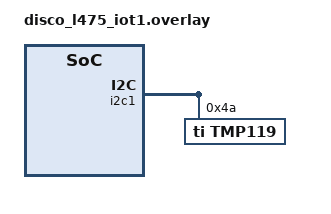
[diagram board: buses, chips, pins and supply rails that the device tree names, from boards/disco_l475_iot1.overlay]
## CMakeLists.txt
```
# SPDX-License-Identifier: Apache-2.0

cmake_minimum_required(VERSION 3.20.0)
find_package(Zephyr REQUIRED HINTS $ENV{ZEPHYR_BASE})
project(tmp119)

FILE(GLOB app_sources src/*c)
target_sources(app PRIVATE ${app_sources})
```

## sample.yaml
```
sample:
  name: TMP119 Sensor Sample

tests:
  sample.sensor.tmp119:
    harness: console
    tags: sensors
    depends_on: i2c
    filter: dt_compat_enabled("ti,tmp119")
    harness_config:
      type: one_line
      regex:
        - "Temperature: (.*) °C"
```

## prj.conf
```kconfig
CONFIG_LOG=y
CONFIG_STDOUT_CONSOLE=y
CONFIG_I2C=y
CONFIG_ASSERT=y
CONFIG_SENSOR=y
CONFIG_SENSOR_INIT_PRIORITY=91
CONFIG_TMP119=y
CONFIG_SHELL=y
CONFIG_I2C_SHELL=y
CONFIG_SHELL_BACKEND_SERIAL=y
CONFIG_UART_CONSOLE=y
CONFIG_SERIAL=y
```

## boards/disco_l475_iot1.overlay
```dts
&i2c1 {
    status = "okay";
    tmp119@4a {
        compatible = "ti,tmp119";
        reg = <0x4a>;
        label = "TMP119";
        odr = <0x200>;  // TMP119_DT_ODR_1000_MS
        status = "okay";
    };
};
```

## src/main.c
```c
#include <zephyr/kernel.h>
#include <zephyr/device.h>
#include <zephyr/drivers/sensor.h>
#include <zephyr/drivers/sensor/tmp119.h>
#include <zephyr/dt-bindings/sensor/tmp119.h>
#include <zephyr/logging/log.h>

LOG_MODULE_REGISTER(tmp119_sample, LOG_LEVEL_INF);

#define TMP119_NODE DT_COMPAT_GET_ANY_STATUS_OKAY(ti_tmp119)
// #define TMP119_NODE DT_NODELABEL(tmp119)

// const struct device *dev = DEVICE_DT_GET_ANY(ti_tmp119);
const struct device *dev = DEVICE_DT_GET(TMP119_NODE);
// const struct device *dev = DEVICE_DT_GET_ANY(ti_tmp119);

// const struct device *const dev = DEVICE_DT_GET_ANY(ti_tmp119);

int main() {
    // int ret;    /* Store return value */
    LOG_INF("TMP119 Sensor's Temperature Reading Sample");

    if(!device_is_ready(dev)) {
        LOG_ERR("TMP119 device not found or not ready.");
        return -ENODEV;
    }

    // ret = tmp119_init(dev); 
    // if (ret < 0) {
    //     LOG_ERR("TMP119 is not initalized !");
    //     return -EINVAL;
    // }

    LOG_INF("TMP119 sensor sample started");

    // === Set SENSOR_ATTR_SAMPLING_FREQUENCY ===
	struct sensor_value freq_val;
	// Example: 1 Hz → 1 sample per second → 1 Hz
	freq_val.val1 = 1;
	freq_val.val2 = 0;

	if (sensor_attr_set(dev, SENSOR_CHAN_AMBIENT_TEMP,
	                    SENSOR_ATTR_SAMPLING_FREQUENCY, &freq_val) < 0) {
		LOG_ERR("Failed to set sampling frequency");
	}

	// === Set SENSOR_ATTR_OVERSAMPLING ===
	struct sensor_value oversample_val;
	oversample_val.val1 = 8;  // Valid: 1, 8, 32, 64
	oversample_val.val2 = 0;

	if (sensor_attr_set(dev, SENSOR_CHAN_AMBIENT_TEMP,
	                    SENSOR_ATTR_OVERSAMPLING, &oversample_val) < 0) {
		LOG_ERR("Failed to set oversampling");
	}

    if (sensor_attr_set(dev, SENSOR_CHAN_AMBIENT_TEMP,
	                    SENSOR_ATTR_TMP119_CONTINUOUS_CONVERSION_MODE, NULL) < 0) {
		LOG_ERR("Failed to set continuous  conversion mode");
	}

	// === Read and log temperature every second ===
	struct sensor_value temp;

	while (1) {
		if (sensor_sample_fetch(dev) < 0) {
			LOG_ERR("Failed to fetch sample from TMP119");
			k_sleep(K_SECONDS(1));
			continue;
		}

		if (sensor_channel_get(dev, SENSOR_CHAN_AMBIENT_TEMP, &temp) < 0) {
			LOG_ERR("Failed to get temperature reading");
			k_sleep(K_SECONDS(1));
			continue;
		}

		LOG_INF("Temperature: %d.%06d °C", temp.val1, temp.val2);
		k_sleep(K_SECONDS(1));
	}
}
```
